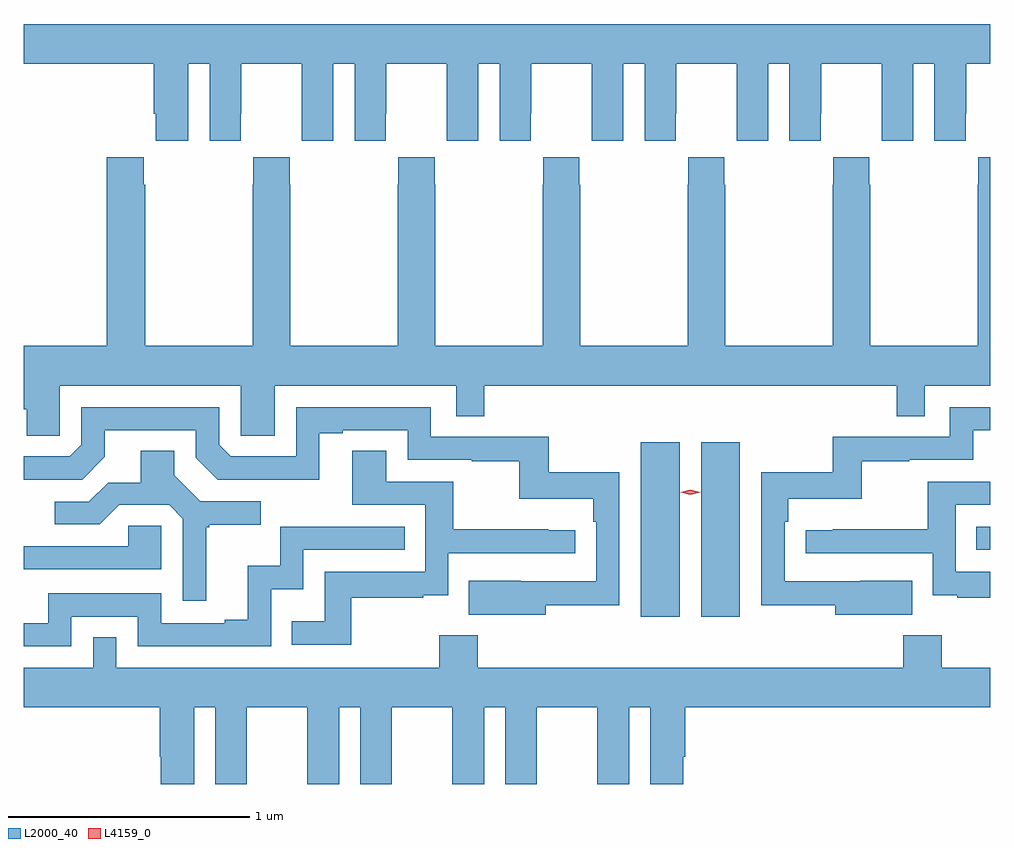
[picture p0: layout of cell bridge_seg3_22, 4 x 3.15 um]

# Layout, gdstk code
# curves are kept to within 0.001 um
import gdstk
lib = gdstk.Library(unit=1e-6, precision=1e-09)
def R(c, l, rs):  # rectangles x0, y0, x1, y1
    for r in rs: c.add(gdstk.rectangle(r[:2], r[2:], *l))
def P(c, l, *ps):  # polygons
    for p in ps: c.add(gdstk.Polygon(p, *l))
L2000_40 = (2000, 40)
L4159_0 = (4159, 0)

bridge_seg3_22 = lib.new_cell('bridge_seg3_22')
R(bridge_seg3_22, L2000_40, [(839.321,737.256,839.482,737.977), (839.57,737.256,839.731,737.977), (840.709,737.532,840.767,737.628)])
P(bridge_seg3_22, L2000_40, [(837.448,739.544),(837.536,739.544),(837.536,739.224),(837.666,739.224),(837.666,739.336),(837.667,739.336),(837.667,739.544),(837.917,739.544),(837.917,739.336),(837.918,739.336),(837.918,739.224),(838.048,739.224),(838.048,739.544),(838.136,739.544),(838.136,739.224),(838.266,739.224),(838.266,739.336),(838.267,739.336),(838.267,739.544),(838.517,739.544),(838.517,739.336),(838.518,739.336),(838.518,739.224),(838.648,739.224),(838.648,739.544),(838.736,739.544),(838.736,739.224),(838.866,739.224),(838.866,739.336),(838.867,739.336),(838.867,739.544),(839.117,739.544),(839.117,739.336),(839.118,739.336),(839.118,739.224),(839.248,739.224),(839.248,739.544),(839.336,739.544),(839.336,739.224),(839.466,739.224),(839.466,739.336),(839.467,739.336),(839.467,739.544),(839.717,739.544),(839.717,739.336),(839.718,739.336),(839.718,739.224),(839.848,739.224),(839.848,739.544),(839.936,739.544),(839.936,739.224),(840.066,739.224),(840.066,739.336),(840.067,739.336),(840.067,739.544),(840.317,739.544),(840.317,739.336),(840.318,739.336),(840.318,739.224),(840.448,739.224),(840.448,739.544),(840.536,739.544),(840.536,739.224),(840.666,739.224),(840.666,739.336),(840.667,739.336),(840.667,739.544),(840.767,739.544),(840.767,739.708),(836.767,739.708),(836.767,739.544),(837.305,739.544),(837.305,739.336),(837.314,739.336),(837.314,739.224),(837.448,739.224)],
  [(836.916,738.212),(837.666,738.212),(837.666,738.004),(837.805,738.004),(837.805,738.212),(838.557,738.212),(838.557,738.085),(838.673,738.085),(838.673,738.212),(840.379,738.212),(840.379,738.085),(840.495,738.085),(840.495,738.212),(840.767,738.212),(840.767,739.156),(840.717,739.156),(840.717,739.043),(840.715,739.043),(840.715,738.376),(840.27,738.376),(840.27,739.043),(840.267,739.043),(840.267,739.156),(840.117,739.156),(840.117,739.043),(840.115,739.043),(840.115,738.376),(839.67,738.376),(839.67,739.043),(839.667,739.043),(839.667,739.156),(839.517,739.156),(839.517,739.043),(839.515,739.043),(839.515,738.376),(839.07,738.376),(839.07,739.043),(839.067,739.043),(839.067,739.156),(838.917,739.156),(838.917,739.043),(838.915,739.043),(838.915,738.376),(838.47,738.376),(838.47,739.043),(838.467,739.043),(838.467,739.156),(838.317,739.156),(838.317,739.043),(838.315,739.043),(838.315,738.376),(837.87,738.376),(837.87,739.043),(837.867,739.043),(837.867,739.156),(837.717,739.156),(837.717,739.043),(837.715,739.043),(837.715,738.376),(837.27,738.376),(837.27,739.043),(837.263,739.043),(837.263,739.156),(837.11,739.156),(837.11,738.376),(836.767,738.376),(836.767,738.114),(836.779,738.114),(836.779,738.004),(836.916,738.004)],
  [(840.443,737.404),(840.229,737.404),(840.229,737.403),(839.916,737.403),(839.916,737.648),(839.93,737.648),(839.93,737.744),(840.235,737.744),(840.235,737.899),(840.431,737.899),(840.431,737.904),(840.696,737.904),(840.696,738.027),(840.767,738.027),(840.767,738.123),(840.6,738.123),(840.6,738),(840.114,738),(840.114,737.854),(839.82,737.854),(839.82,737.302),(840.125,737.302),(840.125,737.264),(840.443,737.264)],
  [(838.927,737.302),(839.232,737.302),(839.232,737.854),(838.939,737.854),(838.939,738),(838.452,738),(838.452,738.123),(837.894,738.123),(837.894,737.919),(837.624,737.919),(837.576,737.967),(837.576,738.123),(837.006,738.123),(837.006,737.967),(836.958,737.919),(836.767,737.919),(836.767,737.823),(837.009,737.823),(837.103,737.917),(837.103,738.027),(837.48,738.027),(837.48,737.913),(837.57,737.823),(837.991,737.822),(837.991,738.015),(838.087,738.015),(838.087,738.027),(838.356,738.027),(838.356,737.904),(838.621,737.904),(838.621,737.899),(838.818,737.899),(838.818,737.744),(839.123,737.744),(839.123,737.648),(839.136,737.648),(839.136,737.403),(838.609,737.404),(838.609,737.264),(838.927,737.264)],
  [(838.123,737.334),(838.421,737.334),(838.421,737.345),(838.524,737.345),(838.524,737.517),(839.05,737.517),(839.05,737.613),(838.937,737.613),(838.937,737.618),(838.544,737.618),(838.544,737.814),(838.267,737.814),(838.267,737.942),(838.127,737.942),(838.127,737.718),(838.428,737.718),(838.428,737.442),(838.012,737.442),(838.012,737.236),(837.877,737.236),(837.877,737.139),(838.123,737.139)],
  [(837.523,737.625),(837.535,737.625),(837.535,737.636),(837.748,737.636),(837.748,737.733),(837.498,737.733),(837.391,737.84),(837.391,737.942),(837.251,737.942),(837.251,737.81),(837.116,737.81),(837.036,737.73),(836.895,737.73),(836.895,737.637),(837.082,737.637),(837.163,737.718),(837.369,737.718),(837.426,737.661),(837.426,737.322),(837.523,737.322)],
  [(840.767,737.442),(840.624,737.442),(840.624,737.718),(840.767,737.718),(840.767,737.814),(840.508,737.814),(840.508,737.618),(840.115,737.618),(840.115,737.613),(840.003,737.613),(840.003,737.517),(840.528,737.517),(840.528,737.345),(840.631,737.345),(840.631,737.334),(840.767,737.334)],
  [(837.336,737.631),(837.199,737.631),(837.199,737.547),(836.767,737.547),(836.767,737.451),(837.336,737.451)],
  [(836.964,737.256),(837.24,737.256),(837.24,737.133),(837.792,737.133),(837.792,737.369),(837.924,737.369),(837.924,737.532),(838.343,737.532),(838.343,737.628),(837.828,737.628),(837.828,737.467),(837.695,737.467),(837.695,737.242),(837.599,737.242),(837.599,737.229),(837.336,737.229),(837.336,737.352),(836.868,737.352),(836.868,737.229),(836.767,737.229),(836.767,737.133),(836.964,737.133)],
  [(837.472,736.88),(837.56,736.88),(837.56,736.563),(837.691,736.563),(837.691,736.88),(837.941,736.88),(837.941,736.563),(838.072,736.563),(838.072,736.88),(838.16,736.88),(838.16,736.563),(838.291,736.563),(838.291,736.88),(838.541,736.88),(838.541,736.563),(838.672,736.563),(838.672,736.88),(838.76,736.88),(838.76,736.563),(838.891,736.563),(838.891,736.88),(839.141,736.88),(839.141,736.563),(839.272,736.563),(839.272,736.88),(839.36,736.88),(839.36,736.563),(839.497,736.563),(839.497,736.675),(839.504,736.675),(839.504,736.88),(840.767,736.88),(840.767,737.044),(840.567,737.044),(840.567,737.179),(840.407,737.179),(840.407,737.044),(838.646,737.044),(838.646,737.179),(838.486,737.179),(838.486,737.044),(837.15,737.044),(837.15,737.171),(837.054,737.171),(837.054,737.044),(836.767,737.044),(836.767,736.88),(837.329,736.88),(837.329,736.675),(837.335,736.675),(837.335,736.563),(837.472,736.563)])
P(bridge_seg3_22, L4159_0, [(839.526,737.76),(839.486,737.77),(839.486,737.77),(839.486,737.77),(839.526,737.78),(839.566,737.77),(839.566,737.77),(839.566,737.77)])

lib.write_gds('bridge_seg3_22.gds')
